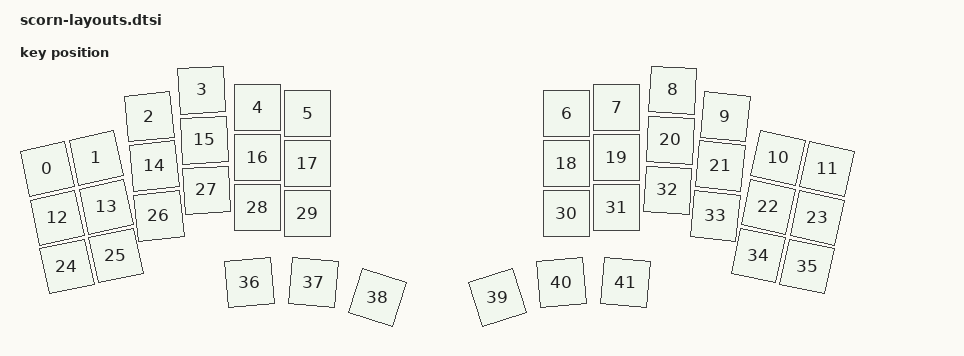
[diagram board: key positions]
#include <physical_layouts.dtsi>

/ {
    physical_layout0: physical_layout_0 {
        compatible = "zmk,physical-layout";
        display-name = "Default Layout";
        transform = <&default_transform>;
        kscan = <&kscan0>;

        keys  //                     w   h    x    y     rot    rx    ry
            = <&key_physical_attrs 100 100    0  158 (-1200)    50   208>
            , <&key_physical_attrs 100 100   98  136 (-1200)   148   186>
            , <&key_physical_attrs 100 100  204   53  (-600)   254   103>
            , <&key_physical_attrs 100 100  309    0  (-300)   359    50>
            , <&key_physical_attrs 100 100  421   35       0     0     0>
            , <&key_physical_attrs 100 100  521   47       0     0     0>
            , <&key_physical_attrs 100 100 1039   47       0     0     0>
            , <&key_physical_attrs 100 100 1139   35       0     0     0>
            , <&key_physical_attrs 100 100 1251    0     300  1301    50>
            , <&key_physical_attrs 100 100 1356   53     600  1406   103>
            , <&key_physical_attrs 100 100 1462  136    1200  1512   186>
            , <&key_physical_attrs 100 100 1560  158    1200  1610   208>
            , <&key_physical_attrs 100 100   20  256 (-1200)    70   306>
            , <&key_physical_attrs 100 100  118  234 (-1200)   168   284>
            , <&key_physical_attrs 100 100  214  152  (-600)   264   202>
            , <&key_physical_attrs 100 100  314  100  (-300)   364   150>
            , <&key_physical_attrs 100 100  421  135       0     0     0>
            , <&key_physical_attrs 100 100  521  147       0     0     0>
            , <&key_physical_attrs 100 100 1039  147       0     0     0>
            , <&key_physical_attrs 100 100 1139  135       0     0     0>
            , <&key_physical_attrs 100 100 1246  100     300  1296   150>
            , <&key_physical_attrs 100 100 1346  152     600  1396   202>
            , <&key_physical_attrs 100 100 1442  234    1200  1492   284>
            , <&key_physical_attrs 100 100 1540  256    1200  1590   306>
            , <&key_physical_attrs 100 100   39  353 (-1200)    89   403>
            , <&key_physical_attrs 100 100  137  331 (-1200)   187   381>
            , <&key_physical_attrs 100 100  223  252  (-600)   273   302>
            , <&key_physical_attrs 100 100  319  200  (-300)   369   250>
            , <&key_physical_attrs 100 100  421  235       0     0     0>
            , <&key_physical_attrs 100 100  521  247       0     0     0>
            , <&key_physical_attrs 100 100 1039  247       0     0     0>
            , <&key_physical_attrs 100 100 1139  235       0     0     0>
            , <&key_physical_attrs 100 100 1241  200     300  1291   250>
            , <&key_physical_attrs 100 100 1336  252     600  1386   302>
            , <&key_physical_attrs 100 100 1422  331    1200  1472   381>
            , <&key_physical_attrs 100 100 1520  353    1200  1570   403>
            , <&key_physical_attrs 100 100  404  385  (-500)   454   435>
            , <&key_physical_attrs 100 100  532  385     500   582   435>
            , <&key_physical_attrs 100 100  660  415    1800   710   465>
            , <&key_physical_attrs 100 100  900  415 (-1800)   950   465>
            , <&key_physical_attrs 100 100 1028  385  (-500)  1078   435>
            , <&key_physical_attrs 100 100 1156  385     500  1206   435>
            ;
    };
};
